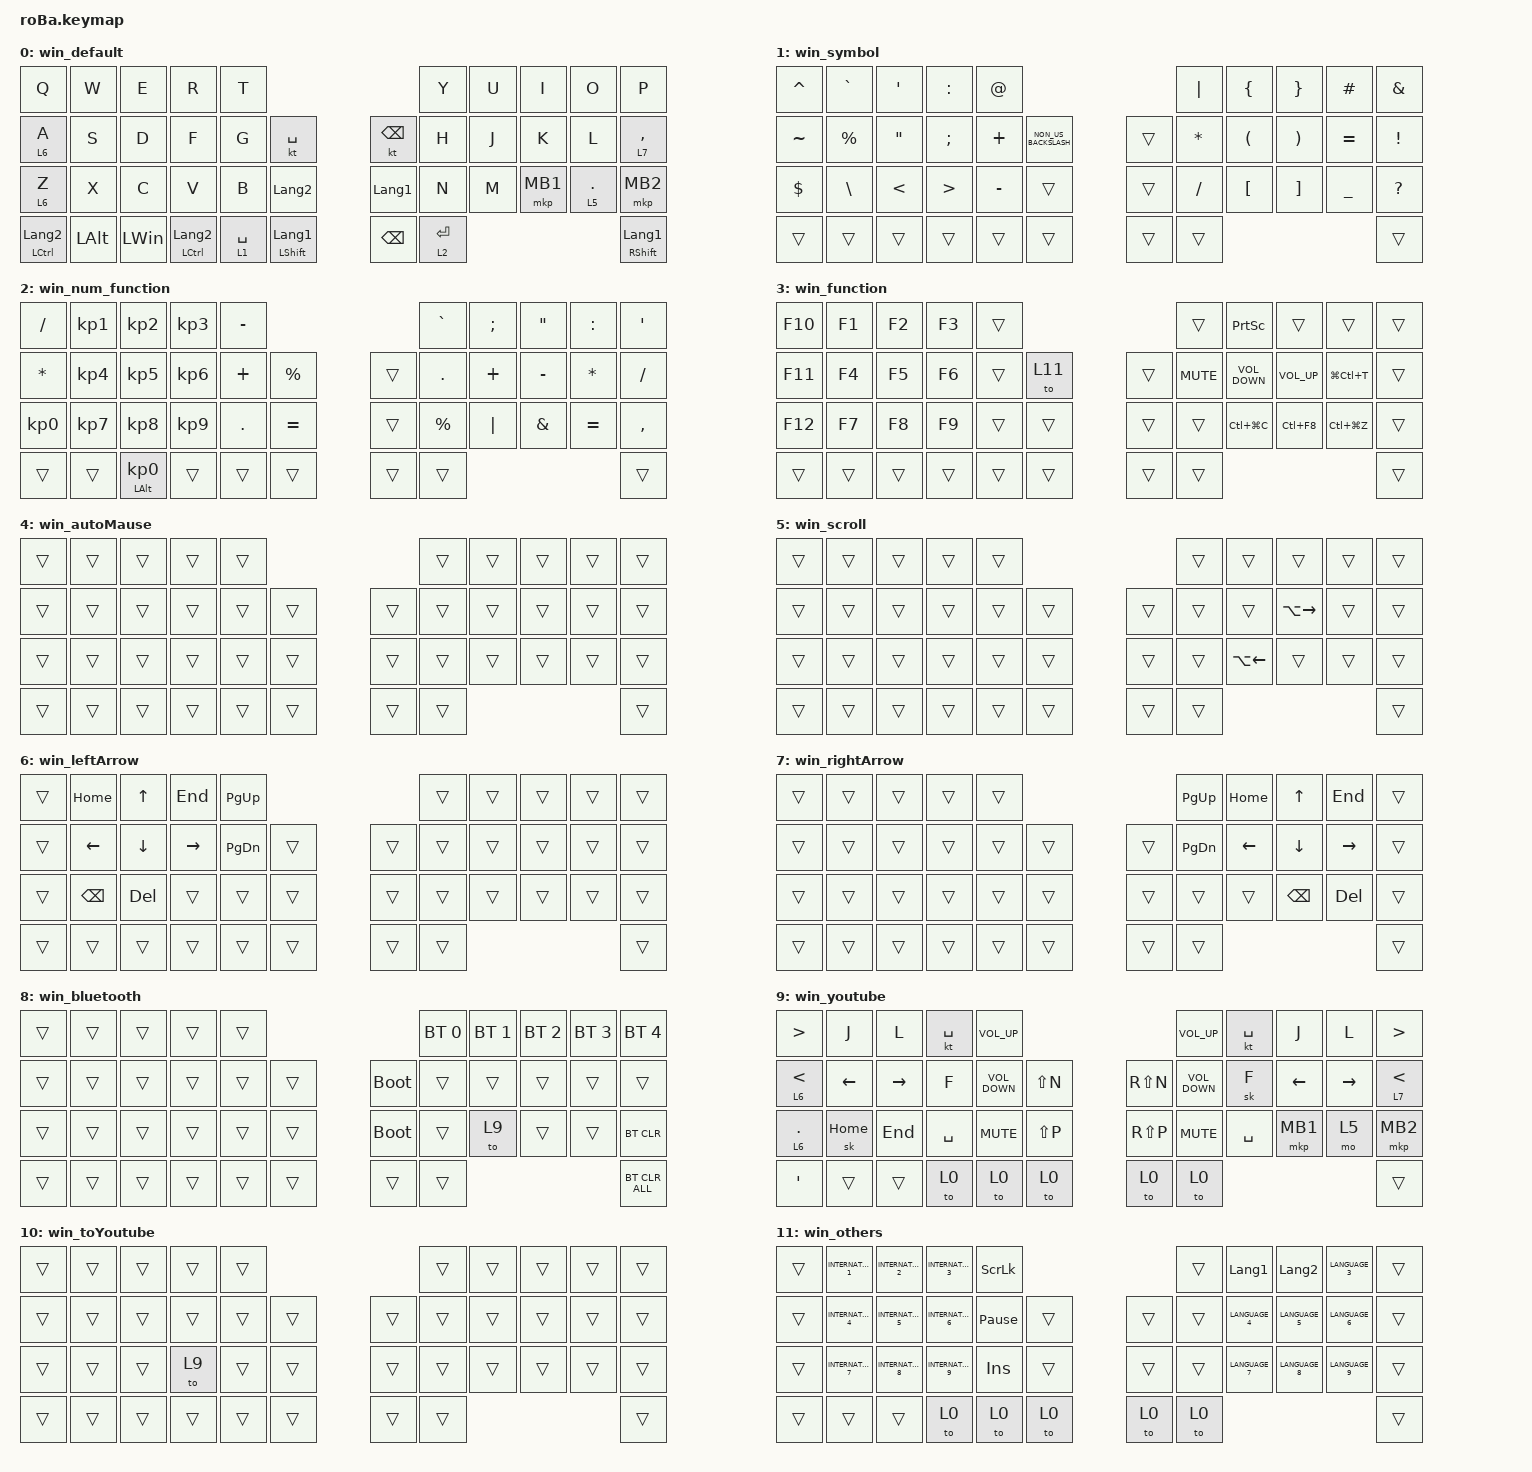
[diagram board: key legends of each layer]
#include <behaviors.dtsi>
#include <dt-bindings/zmk/bt.h>
#include <dt-bindings/zmk/keys.h>
#include <dt-bindings/zmk/pointing.h>

#define MOUSE 4
#define SCROLL 5
#define NUM 6

&mt {
    flavor = "balanced";
    quick-tap-ms = <0>;
};

/ {
    combos {
        compatible = "zmk,combos";

        middleCkick {
            bindings = <&mkp MCLK>;
            key-positions = <33 31>;
        };

        tab1 {
            bindings = <&kp TAB>;
            key-positions = <39 41>;
        };

        functionLayer_esc1 {
            bindings = <&lt 3 ESCAPE>;
            key-positions = <41 38>;
        };

        bluetoothLayer {
            bindings = <&mo 8>;
            key-positions = <41 40>;
        };

        tab2 {
            bindings = <&kp TAB>;
            key-positions = <10 11>;
        };

        esc2 {
            bindings = <&kp ESCAPE>;
            key-positions = <0 1>;
        };

        toYoutubeLayer {
            bindings = <&mo 10>;
            key-positions = <38 37>;
        };
    };

    macros {
        to_layer_0: to_layer_0 {
            compatible = "zmk,behavior-macro-one-param";
            #binding-cells = <1>;
            bindings = <&to 0 &macro_param_1to1 &kp MACRO_PLACEHOLDER>;
            label = "TO_LAYER_0";
        };
    };

    behaviors {
        lt_to_layer_0: lt_to_layer_0 {
            compatible = "zmk,behavior-hold-tap";
            label = "LAYER_TAP_TO_0";
            bindings = <&mo>, <&to_layer_0>;

            #binding-cells = <2>;
            tapping-term-ms = <200>;
        };
    };

    keymap {
        compatible = "zmk,keymap";

        win_default {
            bindings = <
&kp Q                 &kp W         &kp E         &kp R                 &kp T                                                       &kp Y        &kp U  &kp I     &kp O         &kp P
&lt 6 A               &kp S         &kp D         &kp F                 &kp G        &kt SPACE                      &kt BACKSPACE   &kp H        &kp J  &kp K     &kp L         &lt 7 COMMA
&lt 6 Z               &kp X         &kp C         &kp V                 &kp B        &kp LANGUAGE_2                 &kp LANGUAGE_1  &kp N        &kp M  &mkp MB1  &lt 5 PERIOD  &mkp MB2
&mt LCTRL LANGUAGE_2  &kp LEFT_ALT  &kp LEFT_WIN  &mt LCTRL LANGUAGE_2  &lt 1 SPACE  &mt LEFT_SHIFT LANGUAGE_1      &kp BACKSPACE   &lt 2 ENTER                                 &mt RIGHT_SHIFT LANGUAGE_1
            >;
        };

        win_symbol {
            bindings = <
&kp CARET   &kp GRAVE      &kp SINGLE_QUOTE   &kp COLON         &kp AT_SIGN                                    &kp PIPE      &kp LEFT_BRACE        &kp RIGHT_BRACE        &kp HASH        &kp AMPERSAND
&kp TILDE   &kp PERCENT    &kp DOUBLE_QUOTES  &kp SEMICOLON     &kp PLUS     &kp NON_US_BACKSLASH      &trans  &kp ASTERISK  &kp LEFT_PARENTHESIS  &kp RIGHT_PARENTHESIS  &kp EQUAL       &kp EXCLAMATION
&kp DOLLAR  &kp BACKSLASH  &kp LESS_THAN      &kp GREATER_THAN  &kp MINUS    &trans                    &trans  &kp SLASH     &kp LEFT_BRACKET      &kp RIGHT_BRACKET      &kp UNDERSCORE  &kp QUESTION
&trans      &trans         &trans             &trans            &trans       &trans                    &trans  &trans                                                                     &trans
            >;
        };

        win_num_function {
            bindings = <
&kp SLASH        &kp KP_NUMBER_1  &kp KP_NUMBER_2           &kp KP_NUMBER_3  &kp MINUS                            &kp GRAVE    &kp SEMICOLON  &kp DOUBLE_QUOTES  &kp COLON     &kp SINGLE_QUOTE
&kp ASTERISK     &kp KP_NUMBER_4  &kp KP_NUMBER_5           &kp KP_NUMBER_6  &kp PLUS    &kp PERCENT      &trans  &kp PERIOD   &kp PLUS       &kp MINUS          &kp ASTERISK  &kp SLASH
&kp KP_NUMBER_0  &kp KP_NUMBER_7  &kp KP_NUMBER_8           &kp KP_NUMBER_9  &kp PERIOD  &kp EQUAL        &trans  &kp PERCENT  &kp PIPE       &kp AMPERSAND      &kp EQUAL     &kp COMMA
&trans           &trans           &mt LEFT_ALT KP_NUMBER_0  &trans           &trans      &trans           &trans  &trans                                                       &trans
            >;
        };

        win_function {
            bindings = <
&kp F10  &kp F1  &kp F2  &kp F3  &trans                      &trans      &kp PRINTSCREEN    &trans           &trans         &trans
&kp F11  &kp F4  &kp F5  &kp F6  &trans  &to 11      &trans  &kp K_MUTE  &kp C_VOLUME_DOWN  &kp C_VOLUME_UP  &kp LG(LC(T))  &trans
&kp F12  &kp F7  &kp F8  &kp F9  &trans  &trans      &trans  &trans      &kp LC(LG(C))      &kp LC(F8)       &kp LC(LG(Z))  &trans
&trans   &trans  &trans  &trans  &trans  &trans      &trans  &trans                                                         &trans
            >;
        };

        win_autoMause {
            bindings = <
&trans  &trans  &trans  &trans  &trans                      &trans  &trans  &trans  &trans  &trans
&trans  &trans  &trans  &trans  &trans  &trans      &trans  &trans  &trans  &trans  &trans  &trans
&trans  &trans  &trans  &trans  &trans  &trans      &trans  &trans  &trans  &trans  &trans  &trans
&trans  &trans  &trans  &trans  &trans  &trans      &trans  &trans                          &trans
            >;
        };

        win_scroll {
            bindings = <
&trans  &trans  &trans  &trans  &trans                      &trans  &trans              &trans               &trans  &trans
&trans  &trans  &trans  &trans  &trans  &trans      &trans  &trans  &trans              &kp LA(RIGHT_ARROW)  &trans  &trans
&trans  &trans  &trans  &trans  &trans  &trans      &trans  &trans  &kp LA(LEFT_ARROW)  &trans               &trans  &trans
&trans  &trans  &trans  &trans  &trans  &trans      &trans  &trans                                                   &trans
            >;
        };

        win_leftArrow {
            bindings = <
&trans  &kp HOME        &kp UP_ARROW    &kp END          &kp PAGE_UP                        &trans  &trans  &trans  &trans  &trans
&trans  &kp LEFT_ARROW  &kp DOWN_ARROW  &kp RIGHT_ARROW  &kp PAGE_DOWN  &trans      &trans  &trans  &trans  &trans  &trans  &trans
&trans  &kp BACKSPACE   &kp DELETE      &trans           &trans         &trans      &trans  &trans  &trans  &trans  &trans  &trans
&trans  &trans          &trans          &trans           &trans         &trans      &trans  &trans                          &trans
            >;
        };

        win_rightArrow {
            bindings = <
&trans  &trans  &trans  &trans  &trans                      &kp PAGE_UP    &kp HOME  &kp UP         &kp END     &trans
&trans  &trans  &trans  &trans  &trans  &trans      &trans  &kp PAGE_DOWN  &kp LEFT  &kp DOWN       &kp RIGHT   &trans
&trans  &trans  &trans  &trans  &trans  &trans      &trans  &trans         &trans    &kp BACKSPACE  &kp DELETE  &trans
&trans  &trans  &trans  &trans  &trans  &trans      &trans  &trans                                              &trans
            >;
        };

        win_bluetooth {
            bindings = <
&trans  &trans  &trans  &trans  &trans                           &bt BT_SEL 0  &bt BT_SEL 1  &bt BT_SEL 2  &bt BT_SEL 3  &bt BT_SEL 4
&trans  &trans  &trans  &trans  &trans  &trans      &bootloader  &trans        &trans        &trans        &trans        &trans
&trans  &trans  &trans  &trans  &trans  &trans      &bootloader  &trans        &to 9         &trans        &trans        &bt BT_CLR
&trans  &trans  &trans  &trans  &trans  &trans      &trans       &trans                                                  &bt BT_CLR_ALL
            >;
        };

        win_youtube {
            bindings = <
&kp GREATER_THAN  &kp J     &kp L      &kt SPACE  &kp C_VOLUME_UP                              &kp C_VOLUME_UP    &kt SPACE  &kp J     &kp L      &kp GREATER_THAN
&lt 6 LESS_THAN   &kp LEFT  &kp RIGHT  &kp F      &kp C_VOLUME_DOWN  &kp LS(N)      &kp RS(N)  &kp C_VOLUME_DOWN  &sk F      &kp LEFT  &kp RIGHT  &lt 7 LESS_THAN
&lt 6 PERIOD      &sk HOME  &kp END    &kp SPACE  &kp K_MUTE         &kp LS(P)      &kp RS(P)  &kp K_MUTE         &kp SPACE  &mkp MB1  &mo 5      &mkp MB2
&kp SINGLE_QUOTE  &trans    &trans     &to 0      &to 0              &to 0          &to 0      &to 0                                              &trans
            >;
        };

        win_toYoutube {
            bindings = <
&trans  &trans  &trans  &trans  &trans                      &trans  &trans  &trans  &trans  &trans
&trans  &trans  &trans  &trans  &trans  &trans      &trans  &trans  &trans  &trans  &trans  &trans
&trans  &trans  &trans  &to 9   &trans  &trans      &trans  &trans  &trans  &trans  &trans  &trans
&trans  &trans  &trans  &trans  &trans  &trans      &trans  &trans                          &trans
            >;
        };

        win_others {
            bindings = <
&trans  &kp INTERNATIONAL_1  &kp INTERNATIONAL_2  &kp INTERNATIONAL_3  &kp SCROLLLOCK                       &trans  &kp LANGUAGE_1  &kp LANGUAGE_2  &kp LANGUAGE_3  &trans
&trans  &kp INTERNATIONAL_4  &kp INTERNATIONAL_5  &kp INTERNATIONAL_6  &kp PAUSE_BREAK  &trans      &trans  &trans  &kp LANGUAGE_4  &kp LANGUAGE_5  &kp LANGUAGE_6  &trans
&trans  &kp INTERNATIONAL_7  &kp INTERNATIONAL_8  &kp INTERNATIONAL_9  &kp INSERT       &trans      &trans  &trans  &kp LANGUAGE_7  &kp LANGUAGE_8  &kp LANGUAGE_9  &trans
&trans  &trans               &trans               &to 0                &to 0            &to 0       &to 0   &to 0                                                   &trans
            >;
        };
    };
};
